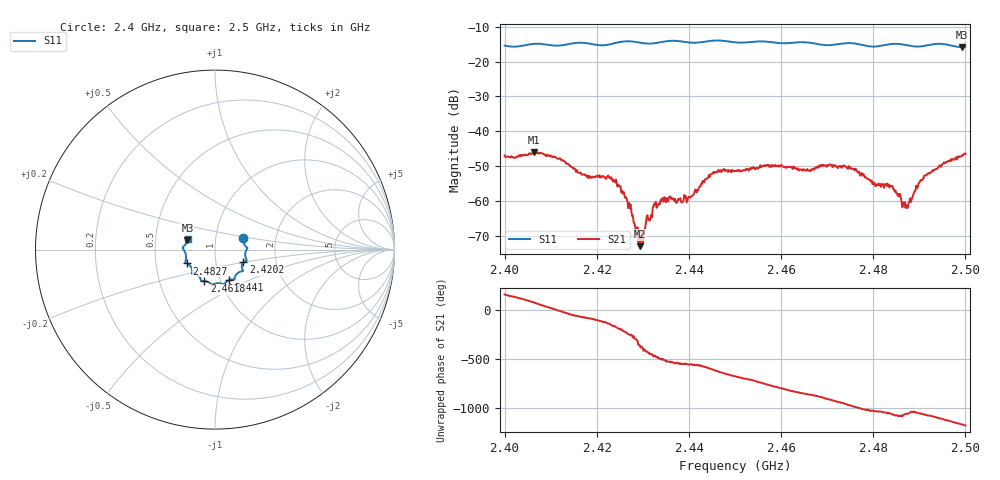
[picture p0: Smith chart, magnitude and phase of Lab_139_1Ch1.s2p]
# Hz S RI R 50
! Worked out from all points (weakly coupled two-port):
!   601 points, 2.4 GHz to 2.5 GHz, reference 50 ohm
!   highest |S21| = -46.09 dB at 2.4063 GHz (marker M1); lowest = -73.0 dB at 2.4293 GHz (marker M2)
!   lowest |S11| = -15.8 dB at 2.4993 GHz (marker M3), VSWR 1.39, Z = 36.5 + j3.86 ohm
!   |S11| at or under -10 dB: start of sweep to end of sweep
!   S12 and S22 are empty: the file has one direction only
!   S11 on the Smith chart (normalised r, x): 2.4 GHz: 1.36, +0.17; 2.4202 GHz: 1.36, -0.20; 2.441 GHz: 1.10, -0.39; 2.4618 GHz: 0.84, -0.30; 2.4827 GHz: 0.72, -0.11; 2.5 GHz: 0.73, +0.09
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2.4e9  0.1583 0.0622  -0.00398 0.00208  0 0  0 0
2.406333e9  0.1803 0.0107  0.0016 0.00469  0 0  0 0
2.412167e9  0.1682 -0.0307  0.00377 -0.00119  0 0  0 0
2.416667e9  0.1771 -0.0608  0.000692 -0.00228  0 0  0 0
2.420167e9  0.1582 -0.0711  -0.000689 -0.00212  0 0  0 0
2.424667e9  0.1535 -0.1116  -0.00167 0.000334  0 0  0 0
2.426833e9  0.1564 -0.1191  -0.000292 0.000728  0 0  0 0
2.428833e9  0.147 -0.1208  0.000298 0.000294  0 0  0 0
2.429333e9  0.143 -0.1221  0.000223 -1.21e-05  0 0  0 0
2.433333e9  0.1115 -0.151  -0.000503 -0.00073  0 0  0 0
2.441e9  0.0784 -0.1697  -0.00116 0.000395  0 0  0 0
2.445167e9  0.0518 -0.1937  -0.00094 0.00227  0 0  0 0
2.45e9  0.0282 -0.1876  0.0019 0.00193  0 0  0 0
2.461833e9  -0.0595 -0.1757  -0.000428 -0.00305  0 0  0 0
2.466667e9  -0.0787 -0.1681  -0.00227 -0.00158  0 0  0 0
2.473833e9  -0.1251 -0.135  -0.00183 0.00255  0 0  0 0
2.482667e9  -0.1561 -0.077  0.00139 0.000961  0 0  0 0
2.483333e9  -0.1606 -0.0752  0.00145 0.000927  0 0  0 0
2.487167e9  -0.1629 -0.0586  0.000797 0.000359  0 0  0 0
2.4915e9  -0.1708 -0.00622  0.00228 0.000439  0 0  0 0
2.499333e9  -0.1538 0.0515  0.000528 -0.00455  0 0  0 0
2.5e9  -0.152 0.061  -0.000333 -0.00472  0 0  0 0
